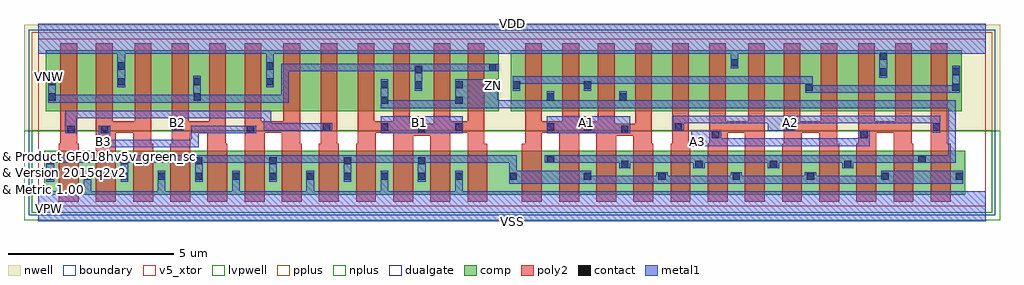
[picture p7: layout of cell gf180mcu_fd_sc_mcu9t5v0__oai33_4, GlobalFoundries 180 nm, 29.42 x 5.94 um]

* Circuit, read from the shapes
.subckt gf180mcu_fd_sc_mcu9t5v0__oai33_4 A1 A2 A3 B1 B2 B3 VDD VNW VSS ZN
XM1 VSS B2 n1 VSUBS nfet_05v0 w=1.32u l=0.6u m=4
XM2 n1 B3 VSS VSUBS nfet_05v0 w=1.32u l=0.6u m=4
XM3 VSS B1 n1 VSUBS nfet_05v0 w=1.32u l=0.6u m=4
XM4 ZN A1 n1 VSUBS nfet_05v0 w=1.32u l=0.6u m=4
XM5 ZN A2 n1 VSUBS nfet_05v0 w=1.32u l=0.6u m=4
XM6 n1 A3 ZN VSUBS nfet_05v0 w=1.32u l=0.6u m=4
XM7 n2 B2 n3 VNW pfet_05v0 w=1.83u l=0.5u
XM8 VDD B3 n2 VNW pfet_05v0 w=1.83u l=0.5u
XM9 n4 B3 VDD VNW pfet_05v0 w=1.83u l=0.5u
XM10 n3 B2 n4 VNW pfet_05v0 w=1.83u l=0.5u
XM11 n5 B2 n3 VNW pfet_05v0 w=1.83u l=0.5u
XM12 VDD B3 n5 VNW pfet_05v0 w=1.83u l=0.5u
XM13 n6 B3 VDD VNW pfet_05v0 w=1.83u l=0.5u
XM14 n7 B2 n6 VNW pfet_05v0 w=1.83u l=0.5u
XM15 ZN B1 n7 VNW pfet_05v0 w=1.83u l=0.5u
XM16 n3 B1 ZN VNW pfet_05v0 w=1.83u l=0.5u m=3
XM17 ZN A1 n8 VNW pfet_05v0 w=1.83u l=0.5u m=3
XM18 n9 A1 ZN VNW pfet_05v0 w=1.83u l=0.5u
XM19 n10 A2 n9 VNW pfet_05v0 w=1.83u l=0.5u
XM20 VDD A3 n10 VNW pfet_05v0 w=1.83u l=0.5u
XM21 n11 A3 VDD VNW pfet_05v0 w=1.83u l=0.5u
XM22 n8 A2 n11 VNW pfet_05v0 w=1.83u l=0.5u
XM23 n12 A2 n8 VNW pfet_05v0 w=1.83u l=0.5u
XM24 VDD A3 n12 VNW pfet_05v0 w=1.83u l=0.5u
XM25 n13 A3 VDD VNW pfet_05v0 w=1.83u l=0.5u
XM26 n8 A2 n13 VNW pfet_05v0 w=1.83u l=0.5u
.ends

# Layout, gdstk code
import gdstk
lib = gdstk.Library(unit=1e-6, precision=5e-10)
def R(c, l, rs):  # rectangles x0, y0, x1, y1
    for r in rs: c.add(gdstk.rectangle(r[:2], r[2:], *l))
def A(c, l, x, y, w, h, nx, ny, dx, dy):  # array of equal rectangles
    R(c, l, [(x+i*dx, y+j*dy, x+i*dx+w, y+j*dy+h) for i in range(nx) for j in range(ny)])
def P(c, l, *ps):  # polygons
    for p in ps: c.add(gdstk.Polygon(p, *l))
boundary = (0, 0)
nwell = (21, 0)
comp = (22, 0)
poly2 = (30, 0)
pplus = (31, 0)
nplus = (32, 0)
contact = (33, 0)
metal1 = (34, 0)
dualgate = (55, 0)
v5_xtor = (112, 1)
lvpwell = (204, 0)

gf180mcu_fd_sc_mcu9t5v0_ = lib.new_cell('gf180mcu_fd_sc_mcu9t5v0__oai33_4')
R(gf180mcu_fd_sc_mcu9t5v0_, boundary, [(0,0,28.56,5.04)])
R(gf180mcu_fd_sc_mcu9t5v0_, nwell, [(-0.43,2.265,28.99,5.47)])
R(gf180mcu_fd_sc_mcu9t5v0_, comp, [(0.18,0.345,27.94,1.665), (0.23,2.865,13.88,4.695), (14.24,2.865,27.84,4.695)])
P(gf180mcu_fd_sc_mcu9t5v0_, poly2, [(0.62,0.125),(0.62,1.885),(0.67,1.885),(0.67,4.915),(1.17,4.915),(1.17,1.885),(1.22,1.885),(1.22,0.125)],
  [(1.74,0.125),(1.74,4.915),(2.24,4.915),(2.24,2.565),(2.91,2.565),(2.91,4.915),(3.41,4.915),(3.41,1.885),(3.46,1.885),(3.46,0.125),(2.86,0.125),(2.86,2.205),(2.34,2.205),(2.34,0.125)],
  [(3.98,0.125),(3.98,1.885),(4.03,1.885),(4.03,4.915),(4.53,4.915),(4.53,2.565),(5.15,2.565),(5.15,4.915),(5.65,4.915),(5.65,1.885),(5.7,1.885),(5.7,0.125),(5.1,0.125),(5.1,2.205),(4.58,2.205),(4.58,0.125)],
  [(6.22,0.125),(6.22,4.915),(6.72,4.915),(6.72,2.565),(7.39,2.565),(7.39,4.915),(7.89,4.915),(7.89,1.885),(7.94,1.885),(7.94,0.125),(7.34,0.125),(7.34,2.205),(6.82,2.205),(6.82,0.125)],
  [(8.46,0.125),(8.46,1.885),(8.51,1.885),(8.51,4.915),(9.01,4.915),(9.01,1.885),(9.06,1.885),(9.06,0.125)],
  [(9.58,0.125),(9.58,1.885),(9.63,1.885),(9.63,4.915),(10.13,4.915),(10.13,2.565),(10.7,2.565),(10.7,4.915),(11.2,4.915),(11.2,2.485),(11.92,2.485),(11.92,4.915),(12.42,4.915),(12.42,2.565),(12.94,2.565),(12.94,4.915),(13.44,4.915),(13.44,1.885),(13.54,1.885),(13.54,0.125),(12.94,0.125),(12.94,2.205),(12.42,2.205),(12.42,0.125),(11.82,0.125),(11.82,2.125),(11.3,2.125),(11.3,0.125),(10.7,0.125),(10.7,2.205),(10.18,2.205),(10.18,0.125)],
  [(14.58,0.125),(14.58,1.885),(14.68,1.885),(14.68,4.915),(15.18,4.915),(15.18,2.565),(15.8,2.565),(15.8,4.915),(16.3,4.915),(16.3,2.565),(16.87,2.565),(16.87,4.915),(17.37,4.915),(17.37,2.485),(17.99,2.485),(17.99,4.915),(18.49,4.915),(18.49,1.885),(18.54,1.885),(18.54,0.125),(17.94,0.125),(17.94,2.125),(17.42,2.125),(17.42,0.125),(16.82,0.125),(16.82,2.205),(16.3,2.205),(16.3,0.125),(15.7,0.125),(15.7,2.205),(15.18,2.205),(15.18,0.125)],
  [(19.06,0.125),(19.06,1.885),(19.11,1.885),(19.11,4.915),(19.61,4.915),(19.61,1.885),(19.66,1.885),(19.66,0.125)],
  [(20.18,0.125),(20.18,1.885),(20.23,1.885),(20.23,4.915),(20.73,4.915),(20.73,2.565),(21.4,2.565),(21.4,4.915),(21.9,4.915),(21.9,0.125),(21.3,0.125),(21.3,2.205),(20.78,2.205),(20.78,0.125)],
  [(22.42,0.125),(22.42,1.885),(22.47,1.885),(22.47,4.915),(22.97,4.915),(22.97,2.565),(23.59,2.565),(23.59,4.915),(24.09,4.915),(24.09,1.885),(24.14,1.885),(24.14,0.125),(23.54,0.125),(23.54,2.205),(23.02,2.205),(23.02,0.125)],
  [(24.66,0.125),(24.66,1.885),(24.71,1.885),(24.71,4.915),(25.21,4.915),(25.21,2.565),(25.83,2.565),(25.83,4.915),(26.33,4.915),(26.33,1.885),(26.38,1.885),(26.38,0.125),(25.78,0.125),(25.78,2.205),(25.26,2.205),(25.26,0.125)],
  [(26.9,0.125),(26.9,4.915),(27.4,4.915),(27.4,1.885),(27.5,1.885),(27.5,0.125)])
R(gf180mcu_fd_sc_mcu9t5v0_, pplus, [(-0.2,2.265,28.76,5.24)])
R(gf180mcu_fd_sc_mcu9t5v0_, nplus, [(-0.2,-0.2,28.76,2.265)])
A(gf180mcu_fd_sc_mcu9t5v0_, contact, 0.25, 0.79, 0.22, 0.22, 12, 1, 1.12, 0)
A(gf180mcu_fd_sc_mcu9t5v0_, contact, 14.21, 0.79, 0.22, 0.22, 7, 1, 2.24, 0)
A(gf180mcu_fd_sc_mcu9t5v0_, contact, 17.57, 1.145, 0.22, 0.22, 4, 1, 2.24, 0)
A(gf180mcu_fd_sc_mcu9t5v0_, contact, 0.25, 1.26, 0.22, 0.22, 6, 1, 2.24, 0)
R(gf180mcu_fd_sc_mcu9t5v0_, contact, [(15.33,1.305,15.55,1.525), (26.53,1.305,26.75,1.525), (20.3,2.04,20.52,2.26), (24.78,2.04,25,2.26), (0.88,2.195,1.1,2.415), (1.89,2.195,2.11,2.415), (6.29,2.195,6.51,2.415), (11.45,2.195,11.67,2.415), (17.57,2.195,17.79,2.415), (4.1,2.275,4.32,2.495), (8.58,2.275,8.8,2.495), (10.33,2.275,10.55,2.495), (12.57,2.275,12.79,2.495), (15.33,2.275,15.55,2.495), (16.45,2.275,16.67,2.495), (19.18,2.275,19.4,2.495), (22.54,2.275,22.76,2.495), (26.97,2.275,27.19,2.495), (10.33,3.08,10.55,3.3), (12.57,3.08,12.79,3.3), (0.3,3.18,0.52,3.4), (4.68,3.18,4.9,3.4), (15.33,3.18,15.55,3.4), (17.52,3.18,17.74,3.4), (23.12,3.475,23.34,3.695), (27.55,3.475,27.77,3.695), (11.35,3.54,11.57,3.76), (14.31,3.54,14.53,3.76), (16.45,3.54,16.67,3.76), (10.33,3.55,10.55,3.77), (12.57,3.55,12.79,3.77), (2.39,3.64,2.61,3.86), (6.87,3.64,7.09,3.86), (0.3,3.65,0.52,3.87), (4.68,3.65,4.9,3.87), (25.36,3.935,25.58,4.155), (27.55,3.945,27.77,4.165), (11.35,4.01,11.57,4.23), (13.59,4.065,13.81,4.285), (2.39,4.11,2.61,4.33), (6.87,4.11,7.09,4.33), (20.88,4.21,21.1,4.43), (25.36,4.405,25.58,4.625)])
R(gf180mcu_fd_sc_mcu9t5v0_, metal1, [(10.325,2.19,12.795,2.71), (15.325,2.19,17.85,2.71)])
P(gf180mcu_fd_sc_mcu9t5v0_, metal1, [(1.83,1.77),(1.83,2.42),(2.17,2.42),(2.17,2),(4.61,2),(4.61,2.42),(6.57,2.42),(6.57,2.19),(4.84,2.19),(4.84,1.77)],
  [(0.82,2.19),(0.82,2.88),(7.03,2.88),(7.03,2.5),(8.86,2.5),(8.86,2.27),(6.8,2.27),(6.8,2.65),(4.38,2.65),(4.38,2.27),(4.04,2.27),(4.04,2.65),(1.16,2.65),(1.16,2.19)],
  [(0.295,3.12),(0.295,3.93),(0.525,3.93),(0.525,3.35),(4.675,3.35),(4.675,3.93),(4.905,3.93),(4.905,3.35),(7.325,3.35),(7.325,4.29),(13.87,4.29),(13.87,4.06),(11.575,4.06),(11.575,3.48),(11.345,3.48),(11.345,4.06),(7.555,4.06),(7.555,3.12)],
  [(19.69,1.81),(19.69,2.265),(20.58,2.265),(20.58,2.04),(24.72,2.04),(24.72,2.265),(25.06,2.265),(25.06,1.81)],
  [(26.965,2.215),(26.965,2.495),(22.82,2.495),(22.82,2.27),(21.99,2.27),(21.99,2.495),(19.46,2.495),(19.46,2.27),(19.12,2.27),(19.12,2.725),(27.195,2.725),(27.195,2.215)],
  [(17.51,1.14),(17.51,1.3),(15.27,1.3),(15.27,1.53),(27.425,1.53),(27.425,2.955),(10.325,2.955),(10.325,3.83),(10.555,3.83),(10.555,3.185),(12.565,3.185),(12.565,3.83),(13.85,3.83),(13.85,3.185),(15.325,3.185),(15.325,3.46),(15.555,3.46),(15.555,3.185),(17.515,3.185),(17.515,3.46),(17.745,3.46),(17.745,3.185),(27.655,3.185),(27.655,1.3),(24.57,1.3),(24.57,1.14),(24.23,1.14),(24.23,1.3),(22.33,1.3),(22.33,1.14),(21.99,1.14),(21.99,1.3),(20.09,1.3),(20.09,1.14),(19.75,1.14),(19.75,1.3),(17.85,1.3),(17.85,1.14)],
  [(23.115,3.415),(23.115,3.69),(16.675,3.69),(16.675,3.48),(16.445,3.48),(16.445,3.69),(14.535,3.69),(14.535,3.48),(14.305,3.48),(14.305,3.92),(23.345,3.92),(23.345,3.645),(27.545,3.645),(27.545,4.225),(27.775,4.225),(27.775,3.415)],
  [(14.2,0.68),(14.2,1.31),(11.675,1.31),(11.675,0.73),(11.445,0.73),(11.445,1.31),(9.435,1.31),(9.435,0.73),(9.205,0.73),(9.205,1.31),(7.195,1.31),(7.195,0.73),(6.965,0.73),(6.965,1.31),(4.955,1.31),(4.955,0.73),(4.725,0.73),(4.725,1.31),(2.715,1.31),(2.715,0.73),(2.485,0.73),(2.485,1.31),(0.475,1.31),(0.475,0.73),(0.245,0.73),(0.245,1.54),(14.43,1.54),(14.43,1.07),(16.675,1.07),(16.675,0.91),(18.63,0.91),(18.63,1.015),(18.97,1.015),(18.97,0.91),(20.87,0.91),(20.87,1.015),(21.21,1.015),(21.21,0.91),(23.11,0.91),(23.11,1.015),(23.45,1.015),(23.45,0.91),(25.405,0.91),(25.405,1.07),(27.875,1.07),(27.875,0.68)],
  [(0,-0.45),(0,0.45),(1.365,0.45),(1.365,1.07),(1.595,1.07),(1.595,0.45),(3.605,0.45),(3.605,1.07),(3.835,1.07),(3.835,0.45),(5.845,0.45),(5.845,1.07),(6.075,1.07),(6.075,0.45),(8.085,0.45),(8.085,1.07),(8.315,1.07),(8.315,0.45),(10.325,0.45),(10.325,1.07),(10.555,1.07),(10.555,0.45),(12.565,0.45),(12.565,1.07),(12.795,1.07),(12.795,0.45),(28.56,0.45),(28.56,-0.45)],
  [(2.385,3.58),(2.385,4.59),(0,4.59),(0,5.49),(28.56,5.49),(28.56,4.59),(25.585,4.59),(25.585,3.875),(25.355,3.875),(25.355,4.59),(21.105,4.59),(21.105,4.15),(20.875,4.15),(20.875,4.59),(7.095,4.59),(7.095,3.58),(6.865,3.58),(6.865,4.59),(2.615,4.59),(2.615,3.58)])
R(gf180mcu_fd_sc_mcu9t5v0_, dualgate, [(-0.28,-0.28,28.84,5.32)])
R(gf180mcu_fd_sc_mcu9t5v0_, v5_xtor, [(0,0,28.56,5.04)])
R(gf180mcu_fd_sc_mcu9t5v0_, lvpwell, [(-0.43,-0.43,28.99,2.265)])
gf180mcu_fd_sc_mcu9t5v0_.add(gdstk.Label('A1', (16.52,2.52), layer=34, texttype=10))
gf180mcu_fd_sc_mcu9t5v0_.add(gdstk.Label('A2', (22.68,2.52), layer=34, texttype=10))
gf180mcu_fd_sc_mcu9t5v0_.add(gdstk.Label('A3', (19.88,1.96), layer=34, texttype=10))
gf180mcu_fd_sc_mcu9t5v0_.add(gdstk.Label('B1', (11.48,2.52), layer=34, texttype=10))
gf180mcu_fd_sc_mcu9t5v0_.add(gdstk.Label('B2', (4.2,2.52), layer=34, texttype=10))
gf180mcu_fd_sc_mcu9t5v0_.add(gdstk.Label('B3', (1.96,1.96), layer=34, texttype=10))
gf180mcu_fd_sc_mcu9t5v0_.add(gdstk.Label('VDD', (14.28,5.49), layer=34, texttype=10))
gf180mcu_fd_sc_mcu9t5v0_.add(gdstk.Label('VSS', (14.28,-0.45), layer=34, texttype=10))
gf180mcu_fd_sc_mcu9t5v0_.add(gdstk.Label('ZN', (13.72,3.64), layer=34, texttype=10))
gf180mcu_fd_sc_mcu9t5v0_.add(gdstk.Label('& Vendor GLOBALFOUNDRIES', (0,2), layer=63, texttype=63))
gf180mcu_fd_sc_mcu9t5v0_.add(gdstk.Label('& Product GF018hv5v_green_sc9', (0,1.5), layer=63, texttype=63))
gf180mcu_fd_sc_mcu9t5v0_.add(gdstk.Label('& Version 2015q2v2', (0,1), layer=63, texttype=63))
gf180mcu_fd_sc_mcu9t5v0_.add(gdstk.Label('& Metric 1.00', (0,0.5), layer=63, texttype=63))
gf180mcu_fd_sc_mcu9t5v0_.add(gdstk.Label('VNW', (0.345,3.92), layer=21, texttype=10))
gf180mcu_fd_sc_mcu9t5v0_.add(gdstk.Label('VPW', (0.34,-0.085), layer=204, texttype=10))

lib.write_gds('gf180mcu_fd_sc_mcu9t5v0__oai33_4.gds')
